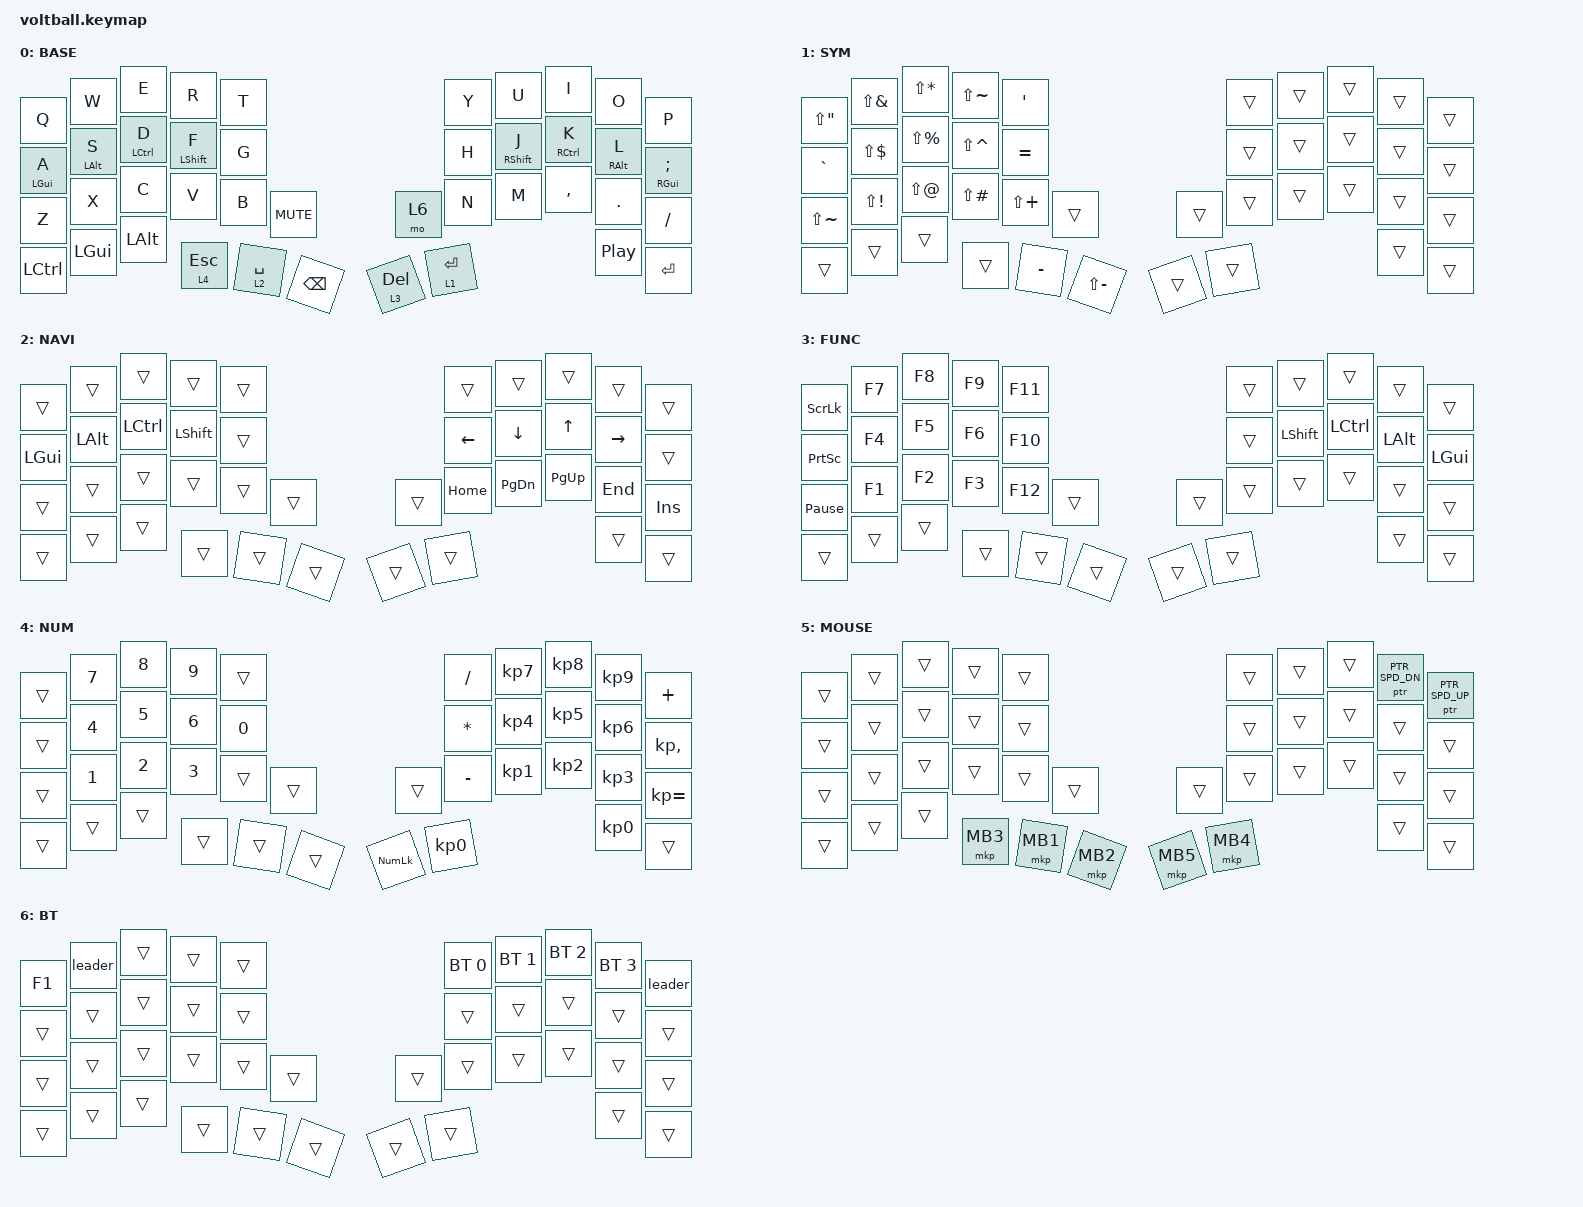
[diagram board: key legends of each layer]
/*
 * SPDX-License-Identifier: MIT
 * TOTEM master b4b2073: 38 keys mapped to Voltball; Totem layer numbering; main mouse/BT retained; scroll mode and pointer speed via &ptr.
 */

#include <dt-bindings/voltball/pointer_mode.h>
#include <behaviors.dtsi>
#include <dt-bindings/zmk/bt.h>
#include <dt-bindings/zmk/keys.h>
#include <dt-bindings/zmk/pointing.h>

&lt { quick-tap-ms = <185>; };

/* Keep manually held layers active until release on the pinned ZMK API. */

&mo { locking; };

/* Keep words like SOME-NAME capitalized across - as well as _. */

&caps_word { continue-list = <UNDERSCORE MINUS BACKSPACE DELETE>; };

/ {
    behaviors {
        ptr: voltball_pointer {
            compatible = "zmk,behavior-voltball-pointer";
            #binding-cells = <1>;
        };

        // Tap: latch drag scroll on/off. Hold: scroll only while held.

        ptr_ht: scroll_hold_tap {
            compatible = "zmk,behavior-hold-tap";
            #binding-cells = <2>;
            flavor = "hold-preferred";
            tapping-term-ms = <200>;
            bindings = <&ptr>, <&ptr>;
        };

        // Home row Ctrl/Alt/GUI, tap-preferred: a roll with another key is
        // always a tap, so Korean cross-hand rolls (ㅇ→ㅏ, ㄴ→ㅏ) never become
        // Ctrl+letter and swallow the letter. The modifier applies only when the
        // key is held for the full 200ms term before the next key.
        // Hold only with an opposite-hand or thumb key; tap while typing fast.

        hml: home_row_mod_left {
            compatible = "zmk,behavior-hold-tap";
            #binding-cells = <2>;
            flavor = "tap-preferred";
            tapping-term-ms = <200>;
            quick-tap-ms = <175>;

            // 100ms: fast rolls stay letters. Shift (F/J) uses hsl/hsr below instead.

            require-prior-idle-ms = <100>;
            bindings = <&kp>, <&kp>;

            // Right hand (incl. bottom row 38-41) + left thumbs 35-37.

            hold-trigger-key-positions = <5 6 7 8 9 15 16 17 18 19 26 27 28 29 30 31 35 36 37 38 39 40 41>;
            hold-trigger-on-release;
        };

        hmr: home_row_mod_right {
            compatible = "zmk,behavior-hold-tap";
            #binding-cells = <2>;
            flavor = "tap-preferred";
            tapping-term-ms = <200>;
            quick-tap-ms = <175>;

            // 100ms: fast rolls stay letters. Shift (F/J) uses hsl/hsr below instead.

            require-prior-idle-ms = <100>;
            bindings = <&kp>, <&kp>;

            // Left hand (incl. bottom row 32-37) + right thumbs 38-39.

            hold-trigger-key-positions = <0 1 2 3 4 10 11 12 13 14 20 21 22 23 24 25 32 33 34 35 36 37 38 39>;
            hold-trigger-on-release;
        };

        // Shift only: balanced and no prior-idle, so Shift right after a letter
        // ("해?") still holds. A roll misjudged as Shift rarely shows in Korean,
        // since only ㅃㅉㄸㄲㅆ and ㅒㅖ change under Shift.

        hsl: home_row_shift_left {
            compatible = "zmk,behavior-hold-tap";
            #binding-cells = <2>;
            flavor = "balanced";
            tapping-term-ms = <200>;
            quick-tap-ms = <175>;
            bindings = <&kp>, <&kp>;
            hold-trigger-key-positions = <5 6 7 8 9 15 16 17 18 19 26 27 28 29 30 31 35 36 37 38 39 40 41>;
            hold-trigger-on-release;
        };

        hsr: home_row_shift_right {
            compatible = "zmk,behavior-hold-tap";
            #binding-cells = <2>;
            flavor = "balanced";
            tapping-term-ms = <200>;
            quick-tap-ms = <175>;
            bindings = <&kp>, <&kp>;
            hold-trigger-key-positions = <0 1 2 3 4 10 11 12 13 14 20 21 22 23 24 25 32 33 34 35 36 37 38 39>;
            hold-trigger-on-release;
        };

        // Leader: tap, then type a sequence. Bound on both halves of the BT
        // layer so BOOT/RESET reach the half the leader was pressed on.

        leader: leader {
            compatible = "zmk,behavior-leader-key";
            #binding-cells = <0>;

            boot {
                sequence = <B O O T>;
                bindings = <&bootloader>;
            };

            reset {
                sequence = <R E S E T>;
                bindings = <&sys_reset>;
            };

            bt0 {
                sequence = <B N0>;
                bindings = <&bt BT_SEL 0>;
            };

            bt1 {
                sequence = <B N1>;
                bindings = <&bt BT_SEL 1>;
            };

            bt2 {
                sequence = <B N2>;
                bindings = <&bt BT_SEL 2>;
            };

            bt3 {
                sequence = <B N3>;
                bindings = <&bt BT_SEL 3>;
            };

            btclr {
                sequence = <B C>;
                bindings = <&bt BT_CLR>;
            };

            spd {
                sequence = <S P D>;
                bindings = <&ptr PTR_SPD_RST>;
            };
        };
    };

    combos {
        compatible = "zmk,combos";

        // All combos: 20ms window, and only after 150ms idle so typing rolls
        // (ㄴㅇ on S+D etc.) never fire a combo and swallow the letters.

        c1 {
            bindings = <&kp LBKT>;
            key-positions = <3 2>;
            timeout-ms = <20>;
            require-prior-idle-ms = <150>;
        };

        c2 {
            bindings = <&kp RBKT>;
            key-positions = <6 7>;
            timeout-ms = <20>;
            require-prior-idle-ms = <150>;
        };

        c3 {
            bindings = <&kp LPAR>;
            key-positions = <13 12>;
            timeout-ms = <20>;
            require-prior-idle-ms = <150>;
        };

        c4 {
            bindings = <&kp RPAR>;
            key-positions = <16 17>;
            timeout-ms = <20>;
            require-prior-idle-ms = <150>;
        };

        c5 {
            bindings = <&kp LBRC>;
            key-positions = <23 22>;
            timeout-ms = <20>;
            require-prior-idle-ms = <150>;
        };

        c6 {
            bindings = <&kp RBRC>;
            key-positions = <28 29>;
            timeout-ms = <20>;
            require-prior-idle-ms = <150>;
        };

        c7 {
            bindings = <&kp BSLH>;
            key-positions = <4 5>;
            timeout-ms = <20>;
            require-prior-idle-ms = <150>;
        };

        c8 {
            bindings = <&kp PIPE>;
            key-positions = <14 15>;
            timeout-ms = <20>;
            require-prior-idle-ms = <150>;
        };

        c9 {
            bindings = <&kp TAB>;
            key-positions = <18 17>;
            timeout-ms = <20>;
            require-prior-idle-ms = <150>;
        };

        combo10 {
            bindings = <&ptr_ht PTR_SCRL_MO PTR_SCRL_TOG>;
            key-positions = <11 12>;
            timeout-ms = <20>;
            require-prior-idle-ms = <150>;
        };

        caps_word_combo {
            bindings = <&caps_word>;
            key-positions = <29 30>;
            timeout-ms = <20>;
            require-prior-idle-ms = <150>;
        };
    };

    keymap {
        compatible = "zmk,keymap";

        base_layer {
            display-name = "BASE";
            bindings = <
&kp Q        &kp W        &kp E         &kp R         &kp T                                      &kp Y        &kp U         &kp I         &kp O             &kp P
&hml LGUI A  &hml LALT S  &hml LCTRL D  &hsl LSHFT F  &kp G                                      &kp H        &hsr RSHFT J  &hmr RCTRL K  &hmr RALT L       &hmr RGUI SEMICOLON
&kp Z        &kp X        &kp C         &kp V         &kp B        &kp C_MUTE         &mo 6      &kp N        &kp M         &kp COMMA     &kp DOT           &kp FSLH
&kp LCTRL    &kp LGUI     &kp LALT      &lt 4 ESC     &lt 2 SPACE  &kp BACKSPACE      &lt 3 DEL  &lt 1 ENTER                              &kp C_PLAY_PAUSE  &kp ENTER
            >;
        };

        sym_layer {
            display-name = "SYM";
            bindings = <
&kp LS(DQT)    &kp LS(AMPS)  &kp LS(STAR)   &kp LS(TILDE)  &kp APOS                                 &trans  &trans  &trans  &trans  &trans
&kp GRAVE      &kp LS(DLLR)  &kp LS(PRCNT)  &kp LS(CARET)  &kp EQUAL                                &trans  &trans  &trans  &trans  &trans
&kp LS(TILDE)  &kp LS(EXCL)  &kp LS(AT)     &kp LS(POUND)  &kp LS(PLUS)  &trans             &trans  &trans  &trans  &trans  &trans  &trans
&trans         &trans        &trans         &trans         &kp MINUS     &kp LS(MINUS)      &trans  &trans                  &trans  &trans
            >;
        };

        nav_layer {
            display-name = "NAVI";
            bindings = <
&trans    &trans    &trans     &trans     &trans                      &trans    &trans     &trans     &trans     &trans
&kp LGUI  &kp LALT  &kp LCTRL  &kp LSHFT  &trans                      &kp LEFT  &kp DOWN   &kp UP     &kp RIGHT  &trans
&trans    &trans    &trans     &trans     &trans  &trans      &trans  &kp HOME  &kp PG_DN  &kp PG_UP  &kp END    &kp INSERT
&trans    &trans    &trans     &trans     &trans  &trans      &trans  &trans                          &trans     &trans
            >;
        };

        function_layer {
            display-name = "FUNC";
            bindings = <
&kp SCROLLLOCK   &kp F7  &kp F8  &kp F9  &kp F11                      &trans  &trans          &trans     &trans        &trans
&kp PRINTSCREEN  &kp F4  &kp F5  &kp F6  &kp F10                      &trans  &kp LEFT_SHIFT  &kp LCTRL  &kp LEFT_ALT  &kp LGUI
&kp PAUSE_BREAK  &kp F1  &kp F2  &kp F3  &kp F12  &trans      &trans  &trans  &trans          &trans     &trans        &trans
&trans           &trans  &trans  &trans  &trans   &trans      &trans  &trans                             &trans        &trans
            >;
        };

        number_layer {
            display-name = "NUM";
            bindings = <
&trans  &kp N7  &kp N8  &kp N9  &trans                                    &kp FSLH         &kp KP_NUMBER_7  &kp KP_NUMBER_8  &kp KP_NUMBER_9  &kp PLUS
&trans  &kp N4  &kp N5  &kp N6  &kp NUMBER_0                              &kp STAR         &kp KP_NUMBER_4  &kp KP_NUMBER_5  &kp KP_NUMBER_6  &kp KP_COMMA
&trans  &kp N1  &kp N2  &kp N3  &trans        &trans      &trans          &kp MINUS        &kp KP_NUMBER_1  &kp KP_NUMBER_2  &kp KP_NUMBER_3  &kp KP_EQUAL
&trans  &trans  &trans  &trans  &trans        &trans      &kp KP_NUMLOCK  &kp KP_NUMBER_0                                    &kp KP_NUMBER_0  &trans
            >;
        };

        MOUSE {
            bindings = <
&trans  &trans  &trans  &trans    &trans                            &trans    &trans  &trans  &ptr PTR_SPD_DN  &ptr PTR_SPD_UP
&trans  &trans  &trans  &trans    &trans                            &trans    &trans  &trans  &trans           &trans
&trans  &trans  &trans  &trans    &trans    &trans        &trans    &trans    &trans  &trans  &trans           &trans
&trans  &trans  &trans  &mkp MB3  &mkp MB1  &mkp MB2      &mkp MB5  &mkp MB4                  &trans           &trans
            >;

            display-name = "MOUSE";
        };

        BT {
            bindings = <
&kp F1  &leader  &trans  &trans  &trans                      &bt BT_SEL 0  &bt BT_SEL 1  &bt BT_SEL 2  &bt BT_SEL 3  &leader
&trans  &trans   &trans  &trans  &trans                      &trans        &trans        &trans        &trans        &trans
&trans  &trans   &trans  &trans  &trans  &trans      &trans  &trans        &trans        &trans        &trans        &trans
&trans  &trans   &trans  &trans  &trans  &trans      &trans  &trans                                    &trans        &trans
            >;

            display-name = "BT";
        };
    };
};
